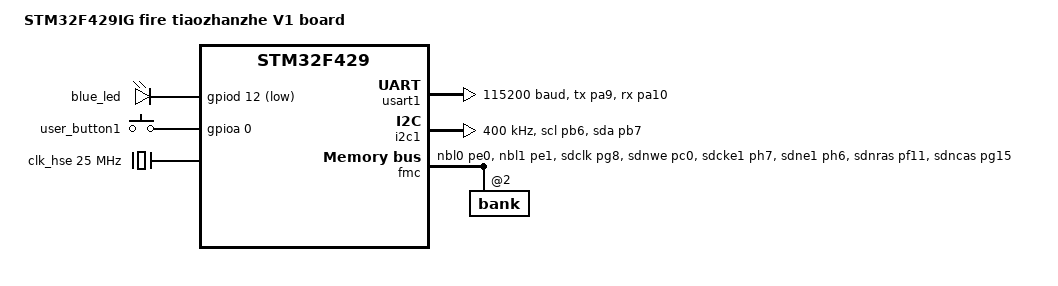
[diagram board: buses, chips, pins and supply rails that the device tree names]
/*
 * Copyright (c) 2025 maminjie <canpool@163.com>
 * SPDX-License-Identifier: Apache-2.0
 */

/dts-v1/;
#include <st/f4/stm32f429Xi.dtsi>
#include <st/f4/stm32f429i(e-g)tx-pinctrl.dtsi>
#include <zephyr/dt-bindings/input/input-event-codes.h>

/ {
	model = "STM32F429IG fire tiaozhanzhe V1 board";
	compatible = "st,stm32f429";

	aliases {
		led0 = &blue_led;
		sw0 = &user_button1;
		sram-ext = &sdram2;
	};

	chosen {
		zephyr,console = &usart1;
		zephyr,shell-uart = &usart1;
		zephyr,sram = &sram0;
		zephyr,flash = &flash0;
	};

	leds {
		compatible = "gpio-leds";
		blue_led: led_4 {
			gpios = <&gpiod 12 GPIO_ACTIVE_LOW>;
		};
		rgb_r_led: led_r {
			gpios = <&gpioh 10 GPIO_ACTIVE_LOW>;
			status = "disabled";
		};
		rgb_g_led: led_g {
			gpios = <&gpioh 11 GPIO_ACTIVE_LOW>;
			status = "disabled";
		};
		rgb_b_led: led_b {
			gpios = <&gpioh 12 GPIO_ACTIVE_LOW>;
			status = "disabled";
		};
	};

	gpio_keys {
		compatible = "gpio-keys";
		user_button1: button1 {
			gpios = <&gpioa 0 GPIO_ACTIVE_HIGH>;
			zephyr,code = <INPUT_KEY_0>;
		};
		user_button2: button2 {
			gpios = <&gpioc 13 GPIO_ACTIVE_HIGH>;
			zephyr,code = <INPUT_KEY_1>;
			status = "disabled";
		};
	};

	sdram2: sdram@d0000000 {
		compatible = "zephyr,memory-region", "mmio-sram";
		device_type = "memory";
		reg = <0xd0000000 DT_SIZE_M(8)>;
		zephyr,memory-region = "SDRAM2";
	};
};

&clk_lsi {
	status = "okay";
};

&clk_hse {
	clock-frequency = <DT_FREQ_M(25)>;
	status = "okay";
};

&pll {
	div-m = <15>;
	mul-n = <216>;
	div-p = <2>;
	div-q = <8>;
	clocks = <&clk_hse>;
	status = "okay";
};

&rcc {
	clocks = <&pll>;
	clock-frequency = <DT_FREQ_M(180)>;
	ahb-prescaler = <1>;
	apb1-prescaler = <4>;
	apb2-prescaler = <2>;
};

&usart1 {
	pinctrl-0 = <&usart1_tx_pa9 &usart1_rx_pa10>;
	pinctrl-names = "default";
	current-speed = <115200>;
	status = "okay";
};

&i2c1 {
	pinctrl-0 = <&i2c1_scl_pb6 &i2c1_sda_pb7>;
	pinctrl-names = "default";
	status = "okay";
	clock-frequency = <I2C_BITRATE_FAST>;

	mpu6050@68 {
		compatible = "invensense,mpu6050";
		reg = <0x68>;
		status = "disabled";
		int-gpios = <&gpioi 1 GPIO_ACTIVE_HIGH>;
	};
};

&spi5 {
	pinctrl-0 = <&spi5_nss_pf6 &spi5_sck_pf7
		     &spi5_miso_pf8 &spi5_mosi_pf9>;
	pinctrl-names = "default";
	status = "disabled";

	nor_flash: w25q128fvsg@0 {
		compatible ="jedec,spi-nor";
		size = <0x1000000>;
		reg = <0>;
		spi-max-frequency = <4000000>;
		status = "disabled";
		jedec-id = [ef 40 18];
	};
};

&fmc {
	status = "okay";
	pinctrl-0 = <&fmc_nbl0_pe0 &fmc_nbl1_pe1
		     &fmc_sdclk_pg8 &fmc_sdnwe_pc0 &fmc_sdcke1_ph7
		     &fmc_sdne1_ph6 &fmc_sdnras_pf11 &fmc_sdncas_pg15
		     &fmc_a0_pf0 &fmc_a1_pf1 &fmc_a2_pf2 &fmc_a3_pf3
		     &fmc_a4_pf4 &fmc_a5_pf5 &fmc_a6_pf12 &fmc_a7_pf13
		     &fmc_a8_pf14 &fmc_a9_pf15 &fmc_a10_pg0 &fmc_a11_pg1
		     &fmc_a14_pg4 &fmc_a15_pg5
		     &fmc_d0_pd14 &fmc_d1_pd15 &fmc_d2_pd0 &fmc_d3_pd1
		     &fmc_d4_pe7 &fmc_d5_pe8 &fmc_d6_pe9 &fmc_d7_pe10
		     &fmc_d8_pe11 &fmc_d9_pe12 &fmc_d10_pe13 &fmc_d11_pe14
		     &fmc_d12_pe15 &fmc_d13_pd8 &fmc_d14_pd9 &fmc_d15_pd10>;
	pinctrl-names = "default";

	/* IS42S16400J */
	sdram {
		status = "okay";

		power-up-delay = <100>;
		num-auto-refresh = <1>;
		mode-register = <0>;
		refresh-rate = <1386>;

		bank@2 {
			reg = <2>;

			st,sdram-control = <STM32_FMC_SDRAM_NC_8
					    STM32_FMC_SDRAM_NR_12
					    STM32_FMC_SDRAM_MWID_16
					    STM32_FMC_SDRAM_NB_4
					    STM32_FMC_SDRAM_CAS_2
					    STM32_FMC_SDRAM_SDCLK_PERIOD_2
					    STM32_FMC_SDRAM_RBURST_DISABLE
					    STM32_FMC_SDRAM_RPIPE_1>;
			st,sdram-timing = <2 7 4 7 2 2 2>;
		};
	};
};
